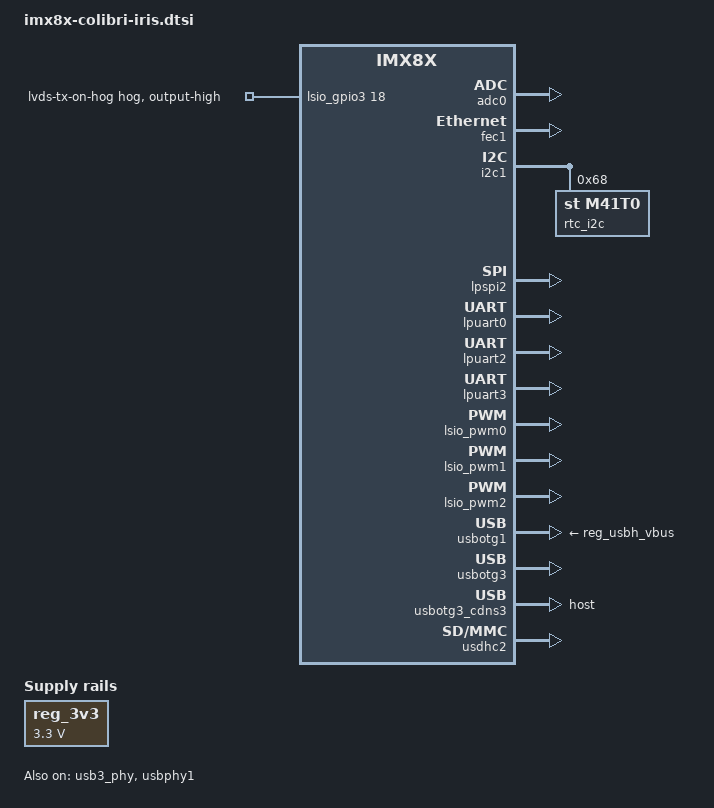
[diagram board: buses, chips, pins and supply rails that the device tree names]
// SPDX-License-Identifier: GPL-2.0-or-later OR MIT
/*
 * Copyright 2018-2021 Toradex
 */

/ {
	aliases {
		rtc0 = &rtc_i2c;
		rtc1 = &rtc;
	};

	reg_3v3: regulator-3v3 {
		compatible = "regulator-fixed";
		regulator-max-microvolt = <3300000>;
		regulator-min-microvolt = <3300000>;
		regulator-name = "3.3V";
	};
};

/* Colibri Analogue Inputs */
&adc0 {
	status = "okay";
};

/* Colibri PWM_A */
&adma_pwm {
	status = "okay";
};

&colibri_gpio_keys {
	status = "okay";
};

/* Colibri FastEthernet */
&fec1 {
	status = "okay";
};

/* Colibri I2C */
&i2c1 {
	status = "okay";

	/* M41T0M6 real time clock on carrier board */
	rtc_i2c: rtc@68 {
		compatible = "st,m41t0";
		reg = <0x68>;
	};
};

&iomuxc {
	pinctrl-names = "default";
	pinctrl-0 = <&pinctrl_gpio_iris>;

	pinctrl_gpio_iris: gpioirisgrp {
		fsl,pins = <IMX8QXP_QSPI0B_DATA3_LSIO_GPIO3_IO21	0x20>,		/* SODIMM  98 */
			   <IMX8QXP_USB_SS3_TC1_LSIO_GPIO4_IO04		0x20>,		/* SODIMM 133 */
			   <IMX8QXP_SAI0_TXD_LSIO_GPIO0_IO25		0x20>,		/* SODIMM 103 */
			   <IMX8QXP_SAI0_TXFS_LSIO_GPIO0_IO28		0x20>,		/* SODIMM 101 */
			   <IMX8QXP_SAI0_RXD_LSIO_GPIO0_IO27		0x20>,		/* SODIMM  97 */
			   <IMX8QXP_ENET0_RGMII_RXC_LSIO_GPIO5_IO03	0x06000020>,	/* SODIMM  85 */
			   <IMX8QXP_SAI0_TXC_LSIO_GPIO0_IO26		0x20>;		/* SODIMM  79 */
	};

	pinctrl_uart1_forceoff: uart1forceoffgrp {
		fsl,pins = <IMX8QXP_QSPI0A_SS0_B_LSIO_GPIO3_IO14	0x20>;	/* SODIMM 22 */
	};

	pinctrl_uart23_forceoff: uart23forceoffgrp {
		fsl,pins = <IMX8QXP_MIPI_DSI1_GPIO0_01_LSIO_GPIO2_IO00	0x20>; /* SODIMM 23 */
	};
};

/* Colibri SPI */
&lpspi2 {
	status = "okay";
};

/* Colibri UART_B */
&lpuart0 {
	status = "okay";
};

/* Colibri UART_C */
&lpuart2 {
	status = "okay";
};

/* Colibri UART_A */
&lpuart3 {
	status= "okay";
};

&lsio_gpio3 {
	/*
	 * Add GPIO3_10 as a wakeup source:
	 * Pin:  157	SC_P_QSPI0A_DATA1 (SODIMM_45)
	 * Type: 6	SC_PAD_WAKEUP_RISE_EDGE
	 * Line: 10	GPIO3_IO10
	 */
	pad-wakeup = <IMX8QXP_QSPI0A_DATA1 6 10>;
	pad-wakeup-num = <1>;

	/*
	 * This turns the LVDS transceiver on. If one wants to turn the
	 * transceiver off, that property has to be deleted and the gpio handled
	 * in userspace.
	 */
	lvds-tx-on-hog {
		gpio-hog;
		gpios = <18 0>;
		output-high;
	};
};

/* Colibri PWM_B */
&lsio_pwm0 {
	status = "okay";
};

/* Colibri PWM_C */
&lsio_pwm1 {
	status = "okay";
};

/* Colibri PWM_D */
&lsio_pwm2 {
	status = "okay";
};

&reg_usbh_vbus {
	status = "okay";
};

/* USB PHY for &usbotg3 */
&usb3_phy {
	status = "okay";
};

&usbotg1 {
	extcon = <&extcon_usbc_det &extcon_usbc_det>;
	vbus-supply = <&reg_usbh_vbus>;
	srp-disable;
	hnp-disable;
	adp-disable;
	power-active-high;
	disable-over-current;
	status = "okay";
};

&usbotg3 {
	status = "okay";
};

&usbotg3_cdns3 {
	dr_mode = "host";
	status = "okay";
};

/* USB PHY for &usbotg1 */
&usbphy1 {
	status = "okay";
};

/* Colibri SD/MMC Card */
&usdhc2 {
	status = "okay";
};
